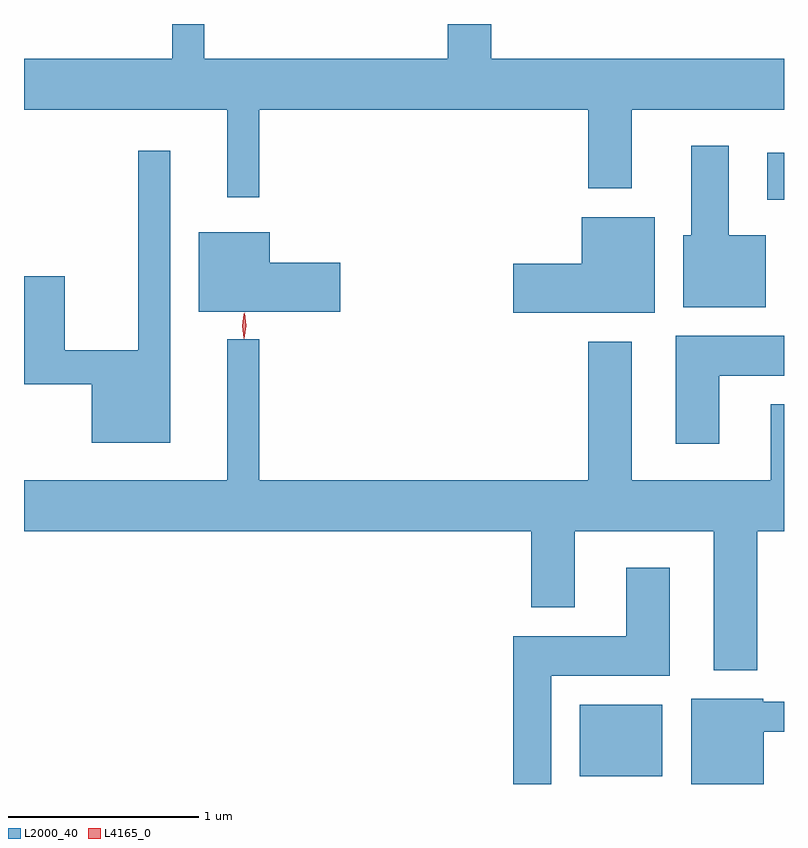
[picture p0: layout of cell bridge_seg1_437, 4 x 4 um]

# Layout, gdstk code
import gdstk
lib = gdstk.Library(unit=1e-6, precision=1e-09)
def R(c, l, rs):  # rectangles x0, y0, x1, y1
    for r in rs: c.add(gdstk.rectangle(r[:2], r[2:], *l))
def P(c, l, *ps):  # polygons
    for p in ps: c.add(gdstk.Polygon(p, *l))
L2000_40 = (2000, 40)
L4165_0 = (4165, 0)

bridge_seg1_437 = lib.new_cell('bridge_seg1_437')
R(bridge_seg1_437, L2000_40, [(209.356,900.506,209.789,900.884), (210.341,903.541,210.43,903.789)])
P(bridge_seg1_437, L2000_40, [(207.669,904.016),(209.401,904.016),(209.401,903.601),(209.629,903.601),(209.629,904.016),(210.43,904.016),(210.43,904.284),(208.889,904.284),(208.889,904.466),(208.661,904.466),(208.661,904.284),(207.379,904.284),(207.379,904.466),(207.211,904.466),(207.211,904.284),(206.43,904.284),(206.43,904.016),(207.501,904.016),(207.501,903.553),(207.669,903.553)],
  [(210.334,903.354),(210.139,903.354),(210.139,903.824),(209.941,903.824),(209.941,903.354),(209.901,903.354),(209.901,902.976),(210.334,902.976)],
  [(207.199,903.798),(207.031,903.798),(207.031,902.749),(206.644,902.749),(206.644,903.139),(206.43,903.139),(206.43,902.571),(206.786,902.571),(206.786,902.261),(207.199,902.261)],
  [(209.749,903.449),(209.366,903.449),(209.366,903.204),(209.006,903.204),(209.006,902.946),(209.749,902.946)],
  [(208.094,903.209),(207.724,903.209),(207.724,903.369),(207.351,903.369),(207.351,902.951),(208.094,902.951)],
  [(210.089,902.616),(210.43,902.616),(210.43,902.824),(209.861,902.824),(209.861,902.256),(210.089,902.256)],
  [(210.289,901.796),(210.43,901.796),(210.43,902.464),(210.361,902.464),(210.361,902.064),(209.629,902.064),(209.629,902.794),(209.401,902.794),(209.401,902.064),(207.669,902.064),(207.669,902.808),(207.501,902.808),(207.501,902.064),(206.43,902.064),(206.43,901.796),(209.101,901.796),(209.101,901.396),(209.329,901.396),(209.329,901.796),(210.061,901.796),(210.061,901.066),(210.289,901.066)],
  [(209.204,901.036),(209.829,901.036),(209.829,901.604),(209.601,901.604),(209.601,901.244),(209.006,901.244),(209.006,900.466),(209.204,900.466)],
  [(210.324,900.741),(210.43,900.741),(210.43,900.899),(210.32,900.899),(210.32,900.914),(209.941,900.914),(209.941,900.466),(210.324,900.466)])
P(bridge_seg1_437, L4165_0, [(207.587,902.813),(207.587,902.813),(207.578,902.876),(207.587,902.94),(207.587,902.94),(207.588,902.94),(207.597,902.876),(207.588,902.813)],
  [(207.59,902.81),(207.59,902.81),(207.581,902.878),(207.591,902.945),(207.592,902.946),(207.592,902.945),(207.601,902.878),(207.59,902.81)])

lib.write_gds('bridge_seg1_437.gds')
